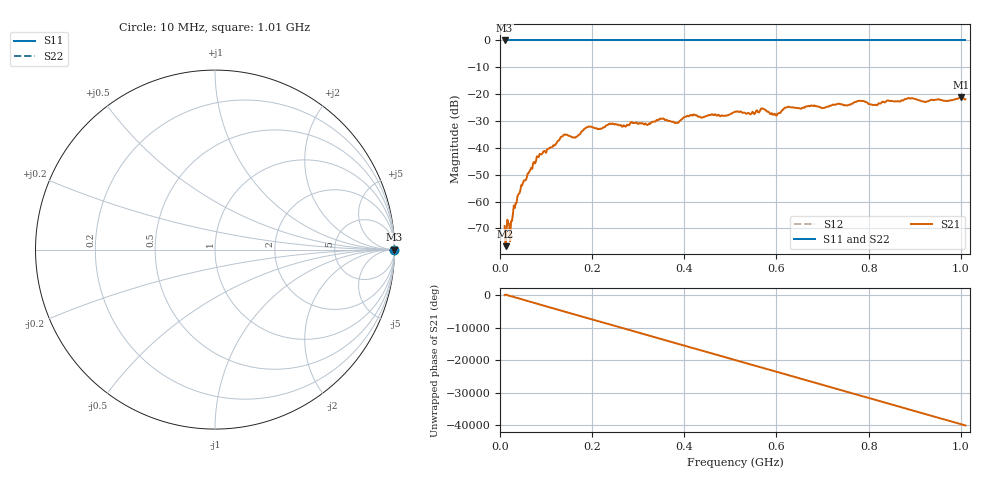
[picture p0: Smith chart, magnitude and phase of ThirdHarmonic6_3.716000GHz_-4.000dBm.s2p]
! 8/17/2025 12:39:48 PM
! C:\ANRITSUVNA\TEMP\TEMP.S2P
! CHANNEL.1
! TR.MEASUREMENT
! RAW.DATA
! RF.CORRECTION.OFF
! AVERAGING.OFF
! IF.BANDWIDTH: 5KHZ
! SWEEPTYPE:  FREQ.SWEEP(Linear)
! Reference Plane Port Info
! PORT:  PORT1  PORT2
! DISTANCE:  0  m  0  m
! TIME:  0  s  0  s
! PHASE.OFFSET:  0  deg.  0  deg.
! LOSS:  0  dB  0  dB
! REF.LOSS:  0  dB  0  dB
! REF.FREQ:  0  Hz  0  Hz
! Power Info
! POWER:  -20  dBm  -20  dBm
! EFF.POWER:  -20  dBm  -20  dBm
! SOURCE.ATTEN:  0  dB  0  dB
! TEST.ATTEN:  0  dB  0  dB
# GHZ S RI R 50.0
! FREQ.GHZ  S11RE  S11IM  S21RE  S21IM  S12RE  S12IM  S22RE  S22IM
!; PortSelection: Port_12
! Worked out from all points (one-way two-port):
!   501 points, 10 MHz to 1.01 GHz, reference 50 ohm
!   highest |S21| = -21.22 dB at 1 GHz (marker M1); lowest = -76.6 dB at 12 MHz (marker M2)
!   lowest |S11| = 0.0 dB at 10 MHz (marker M3)
!   |S11| at or under -10 dB: nowhere
!   |S22| runs from 0.0 to 0.0 dB; largest |S21 - S12| = 1.1
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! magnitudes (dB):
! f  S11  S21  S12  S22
! 10 MHz  0.0  -69.1  0.0  0.0
! 12 MHz  0.0  -76.6  0.0  0.0
! 24 MHz  0.0  -67.3  0.0  0.0
! 34 MHz  0.0  -60.6  0.0  0.0
! 50 MHz  0.0  -53.0  0.0  0.0
! 84 MHz  0.0  -43.4  0.0  0.0
! 136 MHz  0.0  -35.7  0.0  0.0
! 162 MHz  0.0  -36.3  0.0  0.0
! 178 MHz  0.0  -33.7  0.0  0.0
! 192 MHz  0.0  -32.1  0.0  0.0
! 322 MHz  0.0  -31.3  0.0  0.0
! 344 MHz  0.0  -29.6  0.0  0.0
! 384 MHz  0.0  -30.6  0.0  0.0
! 418 MHz  0.0  -28.0  0.0  0.0
! 510 MHz  0.0  -26.5  0.0  0.0
! 570 MHz  0.0  -25.3  0.0  0.0
! 596 MHz  0.0  -27.3  0.0  0.0
! 622 MHz  0.0  -24.9  0.0  0.0
! 678 MHz  0.0  -24.3  0.0  0.0
! 844 MHz  0.0  -22.5  0.0  0.0
! 1 GHz  0.0  -21.2  0.0  0.0
! 1.01 GHz  0.0  -21.9  0.0  0.0
